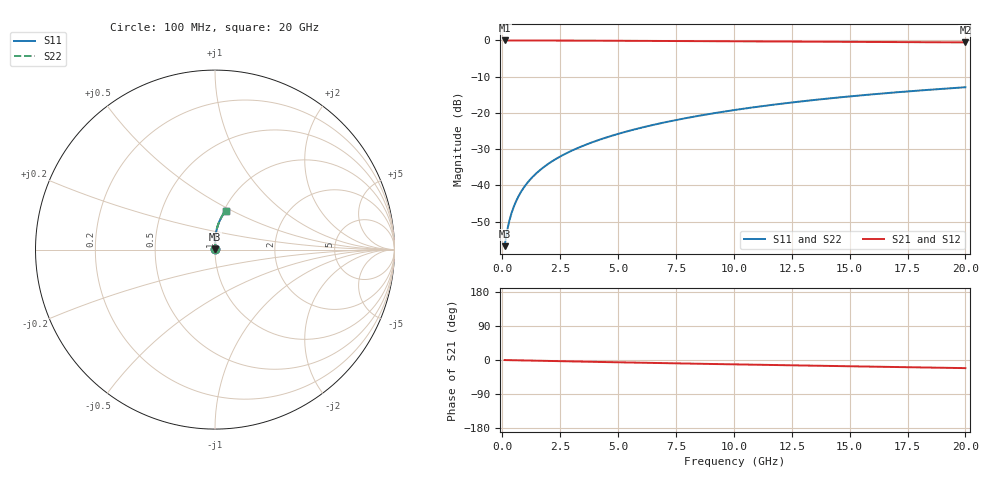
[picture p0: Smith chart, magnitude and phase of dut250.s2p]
! Touchstone file exported from HFSS 2024.1.0
!  File:  C:/UserFiles/LocalFiles/RDL_TSV_Batchsim/temp_RDL_bottom_250_1778701635.aedt
!  Generated:  03:49:43 AM May 14, 2026
!  Design:  RDL_bottom
!  Project:  temp_RDL_bottom_250_1778701635
!  Setup:  Setup1
!  Solution:  Sweep
! Variables:
!  dtsv = 10.80580581um
!  hbump = 3um
!  htsv = 97.45um
!  ldown = 270.28um
!  lrdl = 100um
!  p = 40
!  p1 = 55.88um
!  rhole = 1um
!  t = 450um
!  tdown = 4.99um
!  trdl = 3.915915916um
!  wdown = 23.31um
!  wrdl = 20um
# GHz S MA R 50.000000
! Terminal data exported
! Port[1] = RDL1_T1
! Port[2] = RDL1_T2
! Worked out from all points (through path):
!   200 points, 100 MHz to 20 GHz, reference 50 ohm
!   highest |S21| = -0.01 dB at 100 MHz (marker M1); lowest = -0.5 dB at 20 GHz (marker M2)
!   group delay of S21, straight-line fit = 2.94 ps
!   lowest |S11| = -56.8 dB at 100 MHz (marker M3), VSWR 1.00, Z = 50.1 + j0.107 ohm
!   |S11| at or under -10 dB: start of sweep to end of sweep
!   |S22| runs from -56.8 to -12.9 dB; largest |S21 - S12| = 2.5e-15
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0.1  0.00145 47.4  0.999 -0.1  0.999 -0.1  0.00145 47.4
! Gamma 0 0 0 0
! Port Impedance 50 0 50 0
0.2  0.0023 63.4  0.9989 -0.3  0.9989 -0.3  0.0023 63.4
0.3  0.003213 70.9  0.9989 -0.4  0.9989 -0.4  0.003213 70.9
0.4  0.004157 75.2  0.9988 -0.5  0.9988 -0.5  0.004157 75.2
0.5  0.005119 78.0  0.9987 -0.6  0.9987 -0.6  0.005119 78.0
0.6  0.00609 79.9  0.9986 -0.8  0.9986 -0.8  0.00609 79.9
0.8  0.00805 82.4  0.9985 -1.0  0.9985 -1.0  0.00805 82.4
1.1  0.01101 84.4  0.9982 -1.4  0.9982 -1.4  0.01101 84.4
1.5  0.01498 85.9  0.9977 -1.9  0.9977 -1.9  0.01498 85.9
1.8  0.01798 86.6  0.9973 -2.3  0.9973 -2.3  0.01798 86.6
2.1  0.02098 87.2  0.9968 -2.6  0.9968 -2.6  0.02098 87.2
2.7  0.02706 87.9  0.9956 -3.4  0.9956 -3.4  0.02706 87.9
3.5  0.0353 88.4  0.9936 -4.3  0.9936 -4.3  0.0353 88.4
4.2  0.04269 88.7  0.9917 -5.2  0.9917 -5.2  0.04269 88.7
5  0.05135 88.7  0.9893 -6.1  0.9893 -6.1  0.05135 88.7
6.8  0.07159 88.2  0.9835 -8.1  0.9835 -8.1  0.07159 88.2
8.4  0.09027 87.1  0.9782 -9.8  0.9782 -9.8  0.09027 87.1
10.1  0.1105 85.5  0.9725 -11.6  0.9725 -11.6  0.1105 85.5
11.7  0.1297 83.9  0.9671 -13.2  0.9671 -13.2  0.1297 83.9
13.4  0.15 82.0  0.9615 -15.0  0.9615 -15.0  0.1499 82.0
16.7  0.1886 78.3  0.9504 -18.2  0.9504 -18.2  0.1886 78.3
20  0.226 74.6  0.9391 -21.4  0.9391 -21.4  0.226 74.6
